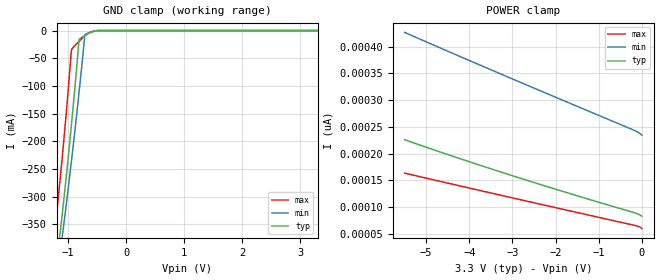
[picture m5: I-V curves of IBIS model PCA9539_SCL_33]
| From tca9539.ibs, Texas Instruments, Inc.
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[Model]   PCA9539_SCL_33
Model_type  Input
Vinl=0.9
Vinh=2.52
| variable   typ   min   max
C_comp   2.12pF   1.54pF   4.92pF
[Temperature Range]   40   100   -40
| Ambient temperature   25   85   -40
[Voltage range]   3.3   3   3.6
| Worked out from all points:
|   GND clamp passes 1 mA (typ) near -0.54 V on its own axis
[GND Clamp]
| PCA9539_SCL_33
|   Voltage   I(typ)   I(min)   I(max)
-5.5V     -1.952A    -1.991A    -1.822A
-1.24V    -456.1mA   -482.2mA   -371.1mA
-1.205V   -425.8mA   -455.2mA   -337.1mA
-1.135V   -362.9mA   -399.8mA   -265.2mA
-1.1V     -330.1mA   -371.2mA   -227.1mA
-1.07V    -301.2mA   -346.3mA   -193.2mA
-1.005V   -236.2mA   -290.9mA   -115.2mA
-945mV    -172.6mA   -237.7mA   -36.94mA
-810mV    -16.02mA   -110.1mA   -19.15mA
-710mV    -8.623mA   -7.36mA    -9.218mA
-505mV    -240uA     -374.5uA   -17.49uA
3.3V      82.96pA    248pA      52.06pA
[POWER Clamp]
| PCA9539_SCL_33
|   Voltage   I(typ)   I(min)   I(max)
-5.5V     226.2pA    426.8pA    163.7pA
-4.255V   191.9pA    383.1pA    140.6pA
-2.945V   157.5pA    337.9pA    116.5pA
-1.625V   124.5pA    292.8pA    92.42pA
-145mV    89pA       242.5pA    65.66pA
-55mV     85.99pA    238.2pA    63.4pA
-95.1fV   82.96pA    234.7pA    59.99pA
